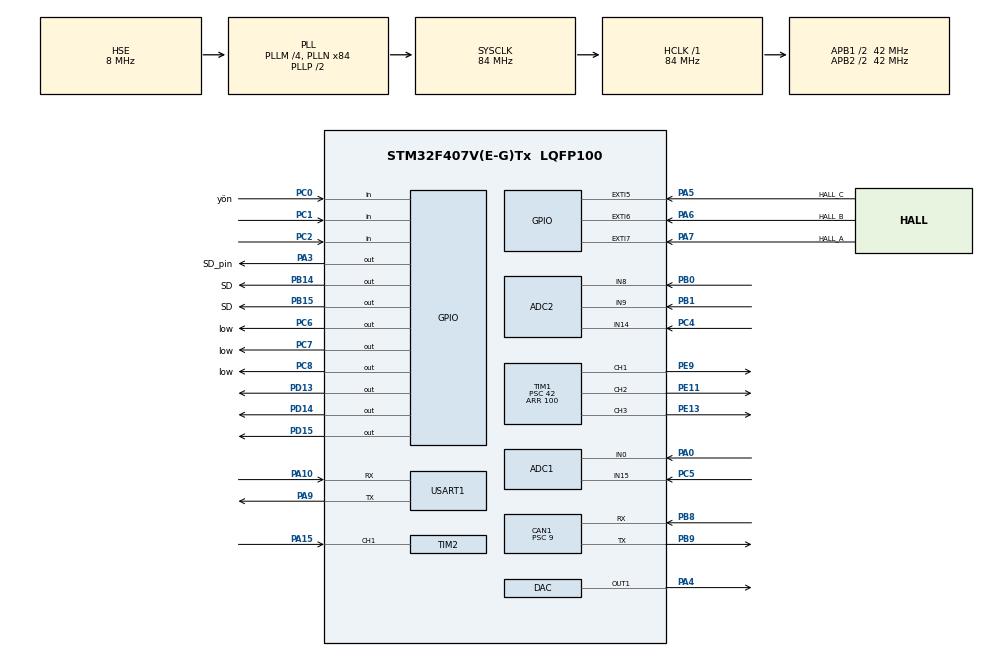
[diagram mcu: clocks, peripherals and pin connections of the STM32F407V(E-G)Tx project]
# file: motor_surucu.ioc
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ADC1.Channel-0\#ChannelRegularConversion=ADC_CHANNEL_0
ADC1.Channel-1\#ChannelInjectedConversion=ADC_CHANNEL_0
ADC1.ClockPrescaler=ADC_CLOCK_SYNC_PCLK_DIV4
ADC1.ContinuousConvMode=ENABLE
ADC1.DMAContinuousRequests=ENABLE
ADC1.ExternalTrigInjecConv=ADC_EXTERNALTRIGINJECCONV_T2_TRGO
ADC1.ExternalTrigInjecConvEdge=ADC_EXTERNALTRIGINJECCONVEDGE_RISING
ADC1.InjNumberOfConversion=1
ADC1.InjectedConvMode=Discontinuous
ADC1.InjectedOffset-1\#ChannelInjectedConversion=0
ADC1.InjectedRank-1\#ChannelInjectedConversion=1
ADC1.NbrOfConversionFlag=1
ADC1.Rank-0\#ChannelRegularConversion=1
ADC1.SamplingTime-0\#ChannelRegularConversion=ADC_SAMPLETIME_3CYCLES
ADC1.SamplingTime-1\#ChannelInjectedConversion=ADC_SAMPLETIME_3CYCLES
ADC1.ScanConvMode=DISABLE
ADC1.master=1
ADC2.Channel-5\#ChannelRegularConversion=ADC_CHANNEL_8
ADC2.ClockPrescaler=ADC_CLOCK_SYNC_PCLK_DIV4
ADC2.NbrOfConversionFlag=1
ADC2.Rank-5\#ChannelRegularConversion=1
ADC2.SamplingTime-5\#ChannelRegularConversion=ADC_SAMPLETIME_3CYCLES
CAN1.BS1=CAN_BS1_3TQ
CAN1.BS2=CAN_BS2_4TQ
CAN1.CalculateBaudRate=583333
CAN1.CalculateTimeBit=1714
CAN1.CalculateTimeQuantum=214.28571428571428
CAN1.Prescaler=9
Dma.ADC1.0.Direction=DMA_PERIPH_TO_MEMORY
Dma.ADC1.0.FIFOMode=DMA_FIFOMODE_DISABLE
Dma.ADC1.0.Instance=DMA2_Stream0
Dma.ADC1.0.MemDataAlignment=DMA_MDATAALIGN_HALFWORD
Dma.ADC1.0.MemInc=DMA_MINC_ENABLE
Dma.ADC1.0.Mode=DMA_CIRCULAR
Dma.ADC1.0.PeriphDataAlignment=DMA_PDATAALIGN_HALFWORD
Dma.ADC1.0.PeriphInc=DMA_PINC_DISABLE
Dma.ADC1.0.Priority=DMA_PRIORITY_LOW
Dma.Request0=ADC1
Mcu.Family=STM32F4
Mcu.Name=STM32F407V(E-G)Tx
Mcu.Package=LQFP100
NVIC.ADC_IRQn=true\:0\:0\:true\:false\:true\:true\:true\:true
NVIC.DMA2_Stream0_IRQn=true\:0\:0\:false\:false\:true\:false\:true\:true
NVIC.EXTI9_5_IRQn=true\:0\:0\:false\:false\:true\:true\:true\:true
NVIC.FLASH_IRQn=true\:0\:0\:false\:false\:true\:true\:true\:true
NVIC.FPU_IRQn=true\:0\:0\:false\:false\:true\:true\:false\:true
NVIC.PriorityGroup=NVIC_PRIORITYGROUP_4
NVIC.RCC_IRQn=true\:0\:0\:false\:false\:true\:true\:false\:true
NVIC.TIM1_BRK_TIM9_IRQn=true\:0\:0\:false\:false\:true\:true\:true\:true
NVIC.TIM1_CC_IRQn=true\:0\:0\:false\:false\:true\:true\:true\:true
NVIC.TIM1_TRG_COM_TIM11_IRQn=true\:0\:0\:false\:false\:true\:true\:true\:true
NVIC.TIM1_UP_TIM10_IRQn=true\:0\:0\:false\:false\:true\:true\:true\:true
PA0-WKUP.Signal=ADCx_IN0
PA10.Mode=Asynchronous
PA10.Signal=USART1_RX
PA13.Mode=Serial_Wire
PA13.Signal=SYS_JTMS-SWDIO
PA14.Mode=Serial_Wire
PA14.Signal=SYS_JTCK-SWCLK
PA15.Signal=S_TIM2_CH1_ETR
PA3.GPIO_Label=SD_pin
PA3.Signal=GPIO_Output
PA4.Signal=COMP_DAC1_group
PA5.GPIO_Label=HALL_C
PA5.GPIO_ModeDefaultEXTI=GPIO_MODE_IT_RISING_FALLING
PA5.GPIO_PuPd=GPIO_PULLUP
PA5.Signal=GPXTI5
PA6.GPIO_Label=HALL_B
PA6.GPIO_ModeDefaultEXTI=GPIO_MODE_IT_RISING_FALLING
PA6.GPIO_PuPd=GPIO_PULLUP
PA6.Signal=GPXTI6
PA7.GPIO_Label=HALL_A
PA7.GPIO_ModeDefaultEXTI=GPIO_MODE_IT_RISING_FALLING
PA7.GPIO_PuPd=GPIO_PULLUP
PA7.Signal=GPXTI7
PA9.Mode=Asynchronous
PA9.Signal=USART1_TX
PB0.Signal=ADCx_IN8
PB1.Signal=ADCx_IN9
PB14.GPIO_Label=SD
PB14.Signal=GPIO_Output
PB15.GPIO_Label=SD
PB15.Signal=GPIO_Output
PB8.Mode=CAN_Activate
PB8.Signal=CAN1_RX
PB9.Mode=CAN_Activate
PB9.Signal=CAN1_TX
PC0.GPIO_Label=y\u00F6n
PC0.Signal=GPIO_Input
PC1.Signal=GPIO_Input
PC2.Signal=GPIO_Input
PC4.Signal=ADCx_IN14
PC5.Signal=ADCx_IN15
PC6.GPIO_Label=low
PC6.GPIO_PuPd=GPIO_PULLUP
PC6.GPIO_Speed=GPIO_SPEED_FREQ_VERY_HIGH
PC6.PinState=GPIO_PIN_SET
PC6.Signal=GPIO_Output
PC7.GPIO_Label=low
PC7.GPIO_PuPd=GPIO_PULLUP
PC7.GPIO_Speed=GPIO_SPEED_FREQ_VERY_HIGH
PC7.PinState=GPIO_PIN_SET
PC7.Signal=GPIO_Output
PC8.GPIO_Label=low
PC8.GPIO_PuPd=GPIO_PULLUP
PC8.GPIO_Speed=GPIO_SPEED_FREQ_VERY_HIGH
PC8.PinState=GPIO_PIN_SET
PC8.Signal=GPIO_Output
PD13.Signal=GPIO_Output
PD14.Signal=GPIO_Output
PD15.Signal=GPIO_Output
PE11.GPIO_PuPd=GPIO_PULLUP
PE11.GPIO_Speed=GPIO_SPEED_FREQ_VERY_HIGH
PE11.Signal=S_TIM1_CH2
PE13.GPIO_PuPd=GPIO_PULLUP
PE13.GPIO_Speed=GPIO_SPEED_FREQ_VERY_HIGH
PE13.Signal=S_TIM1_CH3
PE9.GPIO_PuPd=GPIO_PULLUP
PE9.GPIO_Speed=GPIO_SPEED_FREQ_VERY_HIGH
PE9.Signal=S_TIM1_CH1
PH0-OSC_IN.Mode=HSE-External-Oscillator
PH0-OSC_IN.Signal=RCC_OSC_IN
PH1-OSC_OUT.Mode=HSE-External-Oscillator
PH1-OSC_OUT.Signal=RCC_OSC_OUT
ProjectManager.HeapSize=0x200
ProjectManager.StackSize=0x400
ProjectManager.TargetToolchain=STM32CubeIDE
RCC.48MHZClocksFreq_Value=42000000
RCC.AHBFreq_Value=84000000
RCC.APB1CLKDivider=RCC_HCLK_DIV2
RCC.APB1Freq_Value=42000000
RCC.APB1TimFreq_Value=84000000
RCC.APB2CLKDivider=RCC_HCLK_DIV2
RCC.APB2Freq_Value=42000000
RCC.APB2TimFreq_Value=84000000
RCC.CortexFreq_Value=84000000
RCC.HCLKFreq_Value=84000000
RCC.HSE_VALUE=8000000
RCC.HSI_VALUE=16000000
RCC.LSE_VALUE=32768
RCC.PLLM=4
RCC.PLLN=84
RCC.PLLSourceVirtual=RCC_PLLSOURCE_HSE
RCC.SYSCLKFreq_VALUE=84000000
RCC.SYSCLKSource=RCC_SYSCLKSOURCE_PLLCLK
RCC.VCOOutputFreq_Value=168000000
SH.ADCx_IN0.0=ADC1_IN0,IN0
SH.ADCx_IN14.0=ADC2_IN14,IN14
SH.ADCx_IN15.0=ADC1_IN15,IN15
SH.ADCx_IN8.0=ADC2_IN8,IN8
SH.ADCx_IN9.0=ADC2_IN9,IN9
SH.COMP_DAC1_group.0=DAC_OUT1,DAC_OUT1
SH.S_TIM1_CH1.0=TIM1_CH1,PWM Generation1 CH1
SH.S_TIM1_CH2.0=TIM1_CH2,PWM Generation2 CH2
SH.S_TIM1_CH3.0=TIM1_CH3,PWM Generation3 CH3
SH.S_TIM2_CH1_ETR.0=TIM2_CH1,Input_Capture1_from_TI1
TIM1.Channel-PWM\ Generation1\ CH1=TIM_CHANNEL_1
TIM1.Channel-PWM\ Generation2\ CH2=TIM_CHANNEL_2
TIM1.Channel-PWM\ Generation3\ CH3=TIM_CHANNEL_3
TIM1.Period=100
TIM1.Prescaler=42
TIM1.TIM_MasterOutputTrigger=TIM_TRGO_RESET
TIM2.Channel-Input_Capture1_from_TI1=TIM_CHANNEL_1
TIM2.Period=50
TIM2.Prescaler=83
TIM2.TIM_MasterOutputTrigger=TIM_TRGO_UPDATE
USART1.VirtualMode=VM_ASYNC
VP_TIM2_VS_ClockSourceINT.Mode=Internal
board=custom

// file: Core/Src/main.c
/* USER CODE BEGIN Header */
/**
  ******************************************************************************
  * @file           : main.c
  * @brief          : Main program body
  * @note           : Zeynep Güneş
  ******************************************************************************
  * @attention
  *
  * Copyright (c) 2024 STMicroelectronics.
  * All rights reserved.
  *
  * This software is licensed under terms that can be found in the LICENSE file
  * in the root directory of this software component.
  * If no LICENSE file comes with this software, it is provided AS-IS.
  *
  ******************************************************************************
  */
/* USER CODE END Header */
#include "main.h"
/* USER CODE BEGIN Includes */
#include <stdbool.h>
#include <math.h>
#include <stdint.h>
/* USER CODE END Includes */

/* USER CODE BEGIN PD */
#define PI 3.14159265358979323846
typedef enum{
	MOTOR_BASLA,
	MOTOR_ACIK_CEVRİM,
	MOTOR_KAPALI_CEVRİM
}MotorDurum;
MotorDurum motor_durum = MOTOR_BASLA;

/* USER CODE END PD */

ADC_HandleTypeDef hadc1;
ADC_HandleTypeDef hadc2;
DMA_HandleTypeDef hdma_adc1;

CAN_HandleTypeDef hcan1;

DAC_HandleTypeDef hdac;

TIM_HandleTypeDef htim1;
TIM_HandleTypeDef htim2;

UART_HandleTypeDef huart1;

/* USER CODE BEGIN PV */
uint32_t pedal_degeri;
uint32_t pwm_deger=0;
uint32_t pwm_deger_1 = 0;
bool hall1 ;
bool hall2 ;
bool hall3 ;
uint8_t adım = 0;  //adım = 1 di
bool yon = true ;
int hiz = 0;
/* USER CODE END PV */

void SystemClock_Config(void);
static void MX_GPIO_Init(void);
static void MX_DMA_Init(void);
static void MX_ADC1_Init(void);
static void MX_TIM1_Init(void);
static void MX_CAN1_Init(void);
static void MX_ADC2_Init(void);
static void MX_DAC_Init(void);
static void MX_USART1_UART_Init(void);
static void MX_TIM2_Init(void);

/* USER CODE BEGIN 0 */

//main fonksiyonunun içindeki hız verisini alırken kullanıyorum
long map(long x,long in_min,long in_max,long out_min,long out_max)
{
	return(x-in_min)*(out_max-out_min)/(in_max-in_min)+ out_min;
}
void hareket(uint8_t adım)
{
HAL_GPIO_WritePin(GPIOA, GPIO_PIN_3, 0); //SD pinini sıfıra çek
HAL_GPIO_WritePin(GPIOB, GPIO_PIN_15, 0);
HAL_GPIO_WritePin(GPIOB, GPIO_PIN_14, 0);

HAL_GPIO_WritePin(GPIOC, GPIO_PIN_8, 0); //AL
HAL_GPIO_WritePin(GPIOC, GPIO_PIN_7, 0); //BL
HAL_GPIO_WritePin(GPIOC, GPIO_PIN_6, 0); //CL

__HAL_TIM_SetCompare(&htim1, TIM_CHANNEL_1, 0); //AH
__HAL_TIM_SetCompare(&htim1, TIM_CHANNEL_2, 0); //BH
__HAL_TIM_SetCompare(&htim1, TIM_CHANNEL_3, 0); //CH
switch(adım)
{
case 1: //010
	HAL_GPIO_WritePin(GPIOC, GPIO_PIN_6, 1); //CL
	__HAL_TIM_SetCompare(&htim1, TIM_CHANNEL_1, pwm_deger); //AH
	break;
case 2: //110
	HAL_GPIO_WritePin(GPIOC, GPIO_PIN_7, 1); //BL
	__HAL_TIM_SetCompare(&htim1, TIM_CHANNEL_1, pwm_deger); //AH
	break;
case 3: //100
	HAL_GPIO_WritePin(GPIOC, GPIO_PIN_7, 1); //BL
	__HAL_TIM_SetCompare(&htim1, TIM_CHANNEL_3, pwm_deger); //CH

	break;
case 4: //101
	HAL_GPIO_WritePin(GPIOC, GPIO_PIN_8, 1); //AL
	__HAL_TIM_SetCompare(&htim1, TIM_CHANNEL_3, pwm_deger); //CH

	break;
case 5: //001
	HAL_GPIO_WritePin(GPIOC, GPIO_PIN_8, 1); //AL
	__HAL_TIM_SetCompare(&htim1, TIM_CHANNEL_2, pwm_deger); //BH
	break;
case 6: //011
	HAL_GPIO_WritePin(GPIOC, GPIO_PIN_6, 1); //CL
	__HAL_TIM_SetCompare(&htim1, TIM_CHANNEL_2, pwm_deger); //BH
	break;
case 7: //111
	 HAL_GPIO_WritePin(GPIOA, GPIO_PIN_3, 1); //güvenlik amaçlı her şeyi kapattım
	 HAL_GPIO_WritePin(GPIOB, GPIO_PIN_15, 1);
	 HAL_GPIO_WritePin(GPIOB, GPIO_PIN_14, 1);

	 __HAL_TIM_SetCompare(&htim1, TIM_CHANNEL_1, 0);
	 __HAL_TIM_SetCompare(&htim1, TIM_CHANNEL_2, 0);
	 __HAL_TIM_SetCompare(&htim1, TIM_CHANNEL_3, 0);
	HAL_GPIO_WritePin(GPIOC, GPIO_PIN_8, 0);
	HAL_GPIO_WritePin(GPIOC, GPIO_PIN_7, 0);
	HAL_GPIO_WritePin(GPIOC, GPIO_PIN_6, 0);
}
}

//HAL İNTERRUPTLARI
void HAL_GPIO_EXTI_Callback(uint16_t GPIO_Pin)
{

	hall1 = HAL_GPIO_ReadPin(GPIOA, GPIO_PIN_7);   //HAL DURUMUNU KONTROL ET
	hall2 = HAL_GPIO_ReadPin(GPIOA, GPIO_PIN_6);
	hall3 = HAL_GPIO_ReadPin(GPIOA, GPIO_PIN_5);

if(yon)  //ileri yön dönüş adımları
{
	if(hall1&&!hall2&&hall3) //101  4
	{
		adım = 2;
	}
	else if(hall1&&!hall2&&!hall3) //100  3
	{
		adım = 1;
	}
	else if(hall1&&hall2&&!hall3) //110 2
	{
		adım = 6;
	}
	else if(!hall1&&hall2&&!hall3) //010  1
	{
	    adım = 5;
	}
	else if(!hall1&&hall2&&hall3) //011  6
	{
		adım = 4;
	}
	else if(!hall1&&!hall2&&hall3) //001  5
	{
		adım = 3;
	}
	else if(hall1&&hall2&&hall3) //111 bütün her şeyi kapat
	{
		adım = 7;
	}
}
	else  //geri yön dönüş adımları
	{
		if(hall1&&!hall2&&hall3) //101
		{
			adım = 4;
		}
		else if(hall1&&!hall2&&!hall3) //100
		{
			adım = 3;
		}
		else if(hall1&&hall2&&!hall3)//110
		{
			adım = 2;
		}
		else if(!hall1&&hall2&&!hall3) //010
		{
			adım = 1;
		}
		else if(!hall1&&hall2&&hall3) //011
		{
			adım = 6;
		}
		else if(!hall1&&!hall2&&hall3) //001
		{
			adım = 5;
		}
		else if(hall1&&hall2&&hall3) //111 bütün her şeyi kapat
		{
			adım = 7;
		}
	}
}

void HAL_ADC_ConvCpltCallback(ADC_HandleTypeDef* hadc)
{

	yon = HAL_GPIO_ReadPin(GPIOC, GPIO_PIN_0);
	if(hadc->Instance == ADC1)
	{
		pwm_deger_1 =map(pedal_degeri,1300,4095,0,100);

		if(pwm_deger_1 > 100)
	   {
		pwm_deger_1 = 0;
		 }
pwm_deger = pwm_deger_1;
	  if(pwm_deger < 10)
			  {
			  motor_durum = MOTOR_BASLA;
			  HAL_GPIO_WritePin(GPIOA, GPIO_PIN_3, 1); //SD pinini sıfıra çek
			  HAL_GPIO_WritePin(GPIOB, GPIO_PIN_15, 1);
			  HAL_GPIO_WritePin(GPIOB, GPIO_PIN_14, 1);

			  __HAL_TIM_SetCompare(&htim1, TIM_CHANNEL_1, 0);
			  __HAL_TIM_SetCompare(&htim1, TIM_CHANNEL_2, 0);
			  __HAL_TIM_SetCompare(&htim1, TIM_CHANNEL_3, 0);
			  HAL_GPIO_WritePin(GPIOC, GPIO_PIN_8, 0);
			  HAL_GPIO_WritePin(GPIOC, GPIO_PIN_7, 0);
			  HAL_GPIO_WritePin(GPIOC, GPIO_PIN_6, 0);
			  }
		  else if(pwm_deger > 10)
		  {
			  motor_durum = MOTOR_KAPALI_CEVRİM;
			  hareket(adım);
	}
}
}

/* USER CODE END 0 */

int main(void)
{

  /* MCU Configuration--------------------------------------------------------*/

  /* Reset of all peripherals, Initializes the Flash interface and the Systick. */
  HAL_Init();

  /* Configure the system clock */
  SystemClock_Config();

  /* Initialize all configured peripherals */
  MX_GPIO_Init();
  MX_DMA_Init();
  MX_ADC1_Init();
  MX_TIM1_Init();
  MX_CAN1_Init();
  MX_ADC2_Init();
  MX_DAC_Init();
  MX_USART1_UART_Init();
  MX_TIM2_Init();
  /* USER CODE BEGIN 2 */
HAL_TIM_PWM_Start(&htim1,TIM_CHANNEL_1); //A PWM HİGH başlat
HAL_TIM_PWM_Start(&htim1,TIM_CHANNEL_2); //B PWM HİGH başlat
HAL_TIM_PWM_Start(&htim1,TIM_CHANNEL_3); //C PWM HİGH başlat

HAL_ADC_Start_DMA(&hadc1, &pedal_degeri, 1);
HAL_GPIO_WritePin(GPIOA, GPIO_PIN_3, 1); //SD pinini sıfıra çek
HAL_GPIO_WritePin(GPIOB, GPIO_PIN_15, 1);
HAL_GPIO_WritePin(GPIOB, GPIO_PIN_14, 1);

__HAL_TIM_SetCompare(&htim1, TIM_CHANNEL_1, 0);
__HAL_TIM_SetCompare(&htim1, TIM_CHANNEL_2, 0);
__HAL_TIM_SetCompare(&htim1, TIM_CHANNEL_3, 0);

  /* USER CODE END 2 */

  /* Infinite loop */
  while (1)
  {

  }
}

void SystemClock_Config(void)
{
  RCC_OscInitTypeDef RCC_OscInitStruct = {0};
  RCC_ClkInitTypeDef RCC_ClkInitStruct = {0};

  /** Configure the main internal regulator output voltage
  */
  __HAL_RCC_PWR_CLK_ENABLE();
  __HAL_PWR_VOLTAGESCALING_CONFIG(PWR_REGULATOR_VOLTAGE_SCALE1);

  /** Initializes the RCC Oscillators according to the specified parameters
  * in the RCC_OscInitTypeDef structure.
  */
  RCC_OscInitStruct.OscillatorType = RCC_OSCILLATORTYPE_HSE;
  RCC_OscInitStruct.HSEState = RCC_HSE_ON;
  RCC_OscInitStruct.PLL.PLLState = RCC_PLL_ON;
  RCC_OscInitStruct.PLL.PLLSource = RCC_PLLSOURCE_HSE;
  RCC_OscInitStruct.PLL.PLLM = 4;
  RCC_OscInitStruct.PLL.PLLN = 84;
  RCC_OscInitStruct.PLL.PLLP = RCC_PLLP_DIV2;
  RCC_OscInitStruct.PLL.PLLQ = 4;
  if (HAL_RCC_OscConfig(&RCC_OscInitStruct) != HAL_OK)
  {
    Error_Handler();
  }

  /** Initializes the CPU, AHB and APB buses clocks
  */
  RCC_ClkInitStruct.ClockType = RCC_CLOCKTYPE_HCLK|RCC_CLOCKTYPE_SYSCLK
                              |RCC_CLOCKTYPE_PCLK1|RCC_CLOCKTYPE_PCLK2;
  RCC_ClkInitStruct.SYSCLKSource = RCC_SYSCLKSOURCE_PLLCLK;
  RCC_ClkInitStruct.AHBCLKDivider = RCC_SYSCLK_DIV1;
  RCC_ClkInitStruct.APB1CLKDivider = RCC_HCLK_DIV2;
  RCC_ClkInitStruct.APB2CLKDivider = RCC_HCLK_DIV2;

  if (HAL_RCC_ClockConfig(&RCC_ClkInitStruct, FLASH_LATENCY_2) != HAL_OK)
  {
    Error_Handler();
  }
}

static void MX_ADC1_Init(void)
{

  ADC_ChannelConfTypeDef sConfig = {0};
  ADC_InjectionConfTypeDef sConfigInjected = {0};

  /** Configure the global features of the ADC (Clock, Resolution, Data Alignment and number of conversion)
  */
  hadc1.Instance = ADC1;
  hadc1.Init.ClockPrescaler = ADC_CLOCK_SYNC_PCLK_DIV4;
  hadc1.Init.Resolution = ADC_RESOLUTION_12B;
  hadc1.Init.ScanConvMode = DISABLE;
  hadc1.Init.ContinuousConvMode = ENABLE;
  hadc1.Init.DiscontinuousConvMode = DISABLE;
  hadc1.Init.ExternalTrigConvEdge = ADC_EXTERNALTRIGCONVEDGE_NONE;
  hadc1.Init.ExternalTrigConv = ADC_SOFTWARE_START;
  hadc1.Init.DataAlign = ADC_DATAALIGN_RIGHT;
  hadc1.Init.NbrOfConversion = 1;
  hadc1.Init.DMAContinuousRequests = ENABLE;
  hadc1.Init.EOCSelection = ADC_EOC_SINGLE_CONV;
  if (HAL_ADC_Init(&hadc1) != HAL_OK)
  {
    Error_Handler();
  }

  /** Configure for the selected ADC regular channel its corresponding rank in the sequencer and its sample time.
  */
  sConfig.Channel = ADC_CHANNEL_0;
  sConfig.Rank = 1;
  sConfig.SamplingTime = ADC_SAMPLETIME_3CYCLES;
  if (HAL_ADC_ConfigChannel(&hadc1, &sConfig) != HAL_OK)
  {
    Error_Handler();
  }

  /** Configures for the selected ADC injected channel its corresponding rank in the sequencer and its sample time
  */
  sConfigInjected.InjectedChannel = ADC_CHANNEL_0;
  sConfigInjected.InjectedRank = 1;
  sConfigInjected.InjectedNbrOfConversion = 1;
  sConfigInjected.InjectedSamplingTime = ADC_SAMPLETIME_3CYCLES;
  sConfigInjected.ExternalTrigInjecConvEdge = ADC_EXTERNALTRIGINJECCONVEDGE_RISING;
  sConfigInjected.ExternalTrigInjecConv = ADC_EXTERNALTRIGINJECCONV_T2_TRGO;
  sConfigInjected.AutoInjectedConv = DISABLE;
  sConfigInjected.InjectedDiscontinuousConvMode = ENABLE;
  sConfigInjected.InjectedOffset = 0;
  if (HAL_ADCEx_InjectedConfigChannel(&hadc1, &sConfigInjected) != HAL_OK)
  {
    Error_Handler();
  }

}

static void MX_ADC2_Init(void)
{

  ADC_ChannelConfTypeDef sConfig = {0};

  /** Configure the global features of the ADC (Clock, Resolution, Data Alignment and number of conversion)
  */
  hadc2.Instance = ADC2;
  hadc2.Init.ClockPrescaler = ADC_CLOCK_SYNC_PCLK_DIV4;
  hadc2.Init.Resolution = ADC_RESOLUTION_12B;
  hadc2.Init.ScanConvMode = DISABLE;
  hadc2.Init.ContinuousConvMode = DISABLE;
  hadc2.Init.DiscontinuousConvMode = DISABLE;
  hadc2.Init.ExternalTrigConvEdge = ADC_EXTERNALTRIGCONVEDGE_NONE;
  hadc2.Init.ExternalTrigConv = ADC_SOFTWARE_START;
  hadc2.Init.DataAlign = ADC_DATAALIGN_RIGHT;
  hadc2.Init.NbrOfConversion = 1;
  hadc2.Init.DMAContinuousRequests = DISABLE;
  hadc2.Init.EOCSelection = ADC_EOC_SINGLE_CONV;
  if (HAL_ADC_Init(&hadc2) != HAL_OK)
  {
    Error_Handler();
  }

  /** Configure for the selected ADC regular channel its corresponding rank in the sequencer and its sample time.
  */
  sConfig.Channel = ADC_CHANNEL_8;
  sConfig.Rank = 1;
  sConfig.SamplingTime = ADC_SAMPLETIME_3CYCLES;
  if (HAL_ADC_ConfigChannel(&hadc2, &sConfig) != HAL_OK)
  {
    Error_Handler();
  }

}

static void MX_CAN1_Init(void)
{

  hcan1.Instance = CAN1;
  hcan1.Init.Prescaler = 9;
  hcan1.Init.Mode = CAN_MODE_NORMAL;
  hcan1.Init.SyncJumpWidth = CAN_SJW_1TQ;
  hcan1.Init.TimeSeg1 = CAN_BS1_3TQ;
  hcan1.Init.TimeSeg2 = CAN_BS2_4TQ;
  hcan1.Init.TimeTriggeredMode = DISABLE;
  hcan1.Init.AutoBusOff = DISABLE;
  hcan1.Init.AutoWakeUp = DISABLE;
  hcan1.Init.AutoRetransmission = DISABLE;
  hcan1.Init.ReceiveFifoLocked = DISABLE;
  hcan1.Init.TransmitFifoPriority = DISABLE;
  if (HAL_CAN_Init(&hcan1) != HAL_OK)
  {
    Error_Handler();
  }

}

static void MX_DAC_Init(void)
{

  DAC_ChannelConfTypeDef sConfig = {0};

  /** DAC Initialization
  */
  hdac.Instance = DAC;
  if (HAL_DAC_Init(&hdac) != HAL_OK)
  {
    Error_Handler();
  }

  /** DAC channel OUT1 config
  */
  sConfig.DAC_Trigger = DAC_TRIGGER_NONE;
  sConfig.DAC_OutputBuffer = DAC_OUTPUTBUFFER_ENABLE;
  if (HAL_DAC_ConfigChannel(&hdac, &sConfig, DAC_CHANNEL_1) != HAL_OK)
  {
    Error_Handler();
  }

}

static void MX_TIM1_Init(void)
{

  TIM_MasterConfigTypeDef sMasterConfig = {0};
  TIM_OC_InitTypeDef sConfigOC = {0};
  TIM_BreakDeadTimeConfigTypeDef sBreakDeadTimeConfig = {0};

  htim1.Instance = TIM1;
  htim1.Init.Prescaler = 42;
  htim1.Init.CounterMode = TIM_COUNTERMODE_UP;
  htim1.Init.Period = 100;
  htim1.Init.ClockDivision = TIM_CLOCKDIVISION_DIV1;
  htim1.Init.RepetitionCounter = 0;
  htim1.Init.AutoReloadPreload = TIM_AUTORELOAD_PRELOAD_DISABLE;
  if (HAL_TIM_PWM_Init(&htim1) != HAL_OK)
  {
    Error_Handler();
  }
  sMasterConfig.MasterOutputTrigger = TIM_TRGO_RESET;
  sMasterConfig.MasterSlaveMode = TIM_MASTERSLAVEMODE_DISABLE;
  if (HAL_TIMEx_MasterConfigSynchronization(&htim1, &sMasterConfig) != HAL_OK)
  {
    Error_Handler();
  }
  sConfigOC.OCMode = TIM_OCMODE_PWM1;
  sConfigOC.Pulse = 0;
  sConfigOC.OCPolarity = TIM_OCPOLARITY_HIGH;
  sConfigOC.OCNPolarity = TIM_OCNPOLARITY_HIGH;
  sConfigOC.OCFastMode = TIM_OCFAST_DISABLE;
  sConfigOC.OCIdleState = TIM_OCIDLESTATE_RESET;
  sConfigOC.OCNIdleState = TIM_OCNIDLESTATE_RESET;
  if (HAL_TIM_PWM_ConfigChannel(&htim1, &sConfigOC, TIM_CHANNEL_1) != HAL_OK)
  {
    Error_Handler();
  }
  if (HAL_TIM_PWM_ConfigChannel(&htim1, &sConfigOC, TIM_CHANNEL_2) != HAL_OK)
  {
    Error_Handler();
  }
  if (HAL_TIM_PWM_ConfigChannel(&htim1, &sConfigOC, TIM_CHANNEL_3) != HAL_OK)
  {
    Error_Handler();
  }
  sBreakDeadTimeConfig.OffStateRunMode = TIM_OSSR_DISABLE;
  sBreakDeadTimeConfig.OffStateIDLEMode = TIM_OSSI_DISABLE;
  sBreakDeadTimeConfig.LockLevel = TIM_LOCKLEVEL_OFF;
  sBreakDeadTimeConfig.DeadTime = 0;
  sBreakDeadTimeConfig.BreakState = TIM_BREAK_DISABLE;
  sBreakDeadTimeConfig.BreakPolarity = TIM_BREAKPOLARITY_HIGH;
  sBreakDeadTimeConfig.AutomaticOutput = TIM_AUTOMATICOUTPUT_DISABLE;
  if (HAL_TIMEx_ConfigBreakDeadTime(&htim1, &sBreakDeadTimeConfig) != HAL_OK)
  {
    Error_Handler();
  }
  HAL_TIM_MspPostInit(&htim1);

}

static void MX_TIM2_Init(void)
{

  TIM_ClockConfigTypeDef sClockSourceConfig = {0};
  TIM_MasterConfigTypeDef sMasterConfig = {0};
  TIM_IC_InitTypeDef sConfigIC = {0};

  htim2.Instance = TIM2;
  htim2.Init.Prescaler = 83;
  htim2.Init.CounterMode = TIM_COUNTERMODE_UP;
  htim2.Init.Period = 50;
  htim2.Init.ClockDivision = TIM_CLOCKDIVISION_DIV1;
  htim2.Init.AutoReloadPreload = TIM_AUTORELOAD_PRELOAD_DISABLE;
  if (HAL_TIM_Base_Init(&htim2) != HAL_OK)
  {
    Error_Handler();
  }
  sClockSourceConfig.ClockSource = TIM_CLOCKSOURCE_INTERNAL;
  if (HAL_TIM_ConfigClockSource(&htim2, &sClockSourceConfig) != HAL_OK)
  {
    Error_Handler();
  }
  if (HAL_TIM_IC_Init(&htim2) != HAL_OK)
  {
    Error_Handler();
  }
  sMasterConfig.MasterOutputTrigger = TIM_TRGO_UPDATE;
  sMasterConfig.MasterSlaveMode = TIM_MASTERSLAVEMODE_DISABLE;
  if (HAL_TIMEx_MasterConfigSynchronization(&htim2, &sMasterConfig) != HAL_OK)
  {
    Error_Handler();
  }
  sConfigIC.ICPolarity = TIM_INPUTCHANNELPOLARITY_RISING;
  sConfigIC.ICSelection = TIM_ICSELECTION_DIRECTTI;
  sConfigIC.ICPrescaler = TIM_ICPSC_DIV1;
  sConfigIC.ICFilter = 0;
  if (HAL_TIM_IC_ConfigChannel(&htim2, &sConfigIC, TIM_CHANNEL_1) != HAL_OK)
  {
    Error_Handler();
  }

}

static void MX_USART1_UART_Init(void)
{

  huart1.Instance = USART1;
  huart1.Init.BaudRate = 115200;
  huart1.Init.WordLength = UART_WORDLENGTH_8B;
  huart1.Init.StopBits = UART_STOPBITS_1;
  huart1.Init.Parity = UART_PARITY_NONE;
  huart1.Init.Mode = UART_MODE_TX_RX;
  huart1.Init.HwFlowCtl = UART_HWCONTROL_NONE;
  huart1.Init.OverSampling = UART_OVERSAMPLING_16;
  if (HAL_UART_Init(&huart1) != HAL_OK)
  {
    Error_Handler();
  }

}

static void MX_DMA_Init(void)
{

  /* DMA controller clock enable */
  __HAL_RCC_DMA2_CLK_ENABLE();

  /* DMA interrupt init */
  /* DMA2_Stream0_IRQn interrupt configuration */
  HAL_NVIC_SetPriority(DMA2_Stream0_IRQn, 0, 0);
  HAL_NVIC_EnableIRQ(DMA2_Stream0_IRQn);

}

static void MX_GPIO_Init(void)
{
  GPIO_InitTypeDef GPIO_InitStruct = {0};

  /* GPIO Ports Clock Enable */
  __HAL_RCC_GPIOH_CLK_ENABLE();
  __HAL_RCC_GPIOC_CLK_ENABLE();
  __HAL_RCC_GPIOA_CLK_ENABLE();
  __HAL_RCC_GPIOB_CLK_ENABLE();
  __HAL_RCC_GPIOE_CLK_ENABLE();
  __HAL_RCC_GPIOD_CLK_ENABLE();

  /*Configure GPIO pin Output Level */
  HAL_GPIO_WritePin(SD_pin_GPIO_Port, SD_pin_Pin, GPIO_PIN_RESET);

  /*Configure GPIO pin Output Level */
  HAL_GPIO_WritePin(GPIOB, SD_Pin|SDB15_Pin, GPIO_PIN_RESET);

  /*Configure GPIO pin Output Level */
  HAL_GPIO_WritePin(GPIOD, GPIO_PIN_13|GPIO_PIN_14|GPIO_PIN_15, GPIO_PIN_RESET);

  /*Configure GPIO pin Output Level */
  HAL_GPIO_WritePin(GPIOC, low_Pin|lowC7_Pin|lowC8_Pin, GPIO_PIN_SET);

  /*Configure GPIO pins : y_n_Pin PC1 PC2 */
  GPIO_InitStruct.Pin = y_n_Pin|GPIO_PIN_1|GPIO_PIN_2;
  GPIO_InitStruct.Mode = GPIO_MODE_INPUT;
  GPIO_InitStruct.Pull = GPIO_NOPULL;
  HAL_GPIO_Init(GPIOC, &GPIO_InitStruct);

  /*Configure GPIO pin : SD_pin_Pin */
  GPIO_InitStruct.Pin = SD_pin_Pin;
  GPIO_InitStruct.Mode = GPIO_MODE_OUTPUT_PP;
  GPIO_InitStruct.Pull = GPIO_NOPULL;
  GPIO_InitStruct.Speed = GPIO_SPEED_FREQ_LOW;
  HAL_GPIO_Init(SD_pin_GPIO_Port, &GPIO_InitStruct);

  /*Configure GPIO pins : HALL_C_Pin HALL_B_Pin HALL_A_Pin */
  GPIO_InitStruct.Pin = HALL_C_Pin|HALL_B_Pin|HALL_A_Pin;
  GPIO_InitStruct.Mode = GPIO_MODE_IT_RISING_FALLING;
  GPIO_InitStruct.Pull = GPIO_PULLUP;
  HAL_GPIO_Init(GPIOA, &GPIO_InitStruct);

  /*Configure GPIO pins : SD_Pin SDB15_Pin */
  GPIO_InitStruct.Pin = SD_Pin|SDB15_Pin;
  GPIO_InitStruct.Mode = GPIO_MODE_OUTPUT_PP;
  GPIO_InitStruct.Pull = GPIO_NOPULL;
  GPIO_InitStruct.Speed = GPIO_SPEED_FREQ_LOW;
  HAL_GPIO_Init(GPIOB, &GPIO_InitStruct);

  /*Configure GPIO pins : PD13 PD14 PD15 */
  GPIO_InitStruct.Pin = GPIO_PIN_13|GPIO_PIN_14|GPIO_PIN_15;
  GPIO_InitStruct.Mode = GPIO_MODE_OUTPUT_PP;
  GPIO_InitStruct.Pull = GPIO_NOPULL;
  GPIO_InitStruct.Speed = GPIO_SPEED_FREQ_LOW;
  HAL_GPIO_Init(GPIOD, &GPIO_InitStruct);

  /*Configure GPIO pins : low_Pin lowC7_Pin lowC8_Pin */
  GPIO_InitStruct.Pin = low_Pin|lowC7_Pin|lowC8_Pin;
  GPIO_InitStruct.Mode = GPIO_MODE_OUTPUT_PP;
  GPIO_InitStruct.Pull = GPIO_PULLUP;
  GPIO_InitStruct.Speed = GPIO_SPEED_FREQ_VERY_HIGH;
  HAL_GPIO_Init(GPIOC, &GPIO_InitStruct);

  /* EXTI interrupt init*/
  HAL_NVIC_SetPriority(EXTI9_5_IRQn, 0, 0);
  HAL_NVIC_EnableIRQ(EXTI9_5_IRQn);

}

void Error_Handler(void)
{
  __disable_irq();
  while (1)
  {
  }
}
